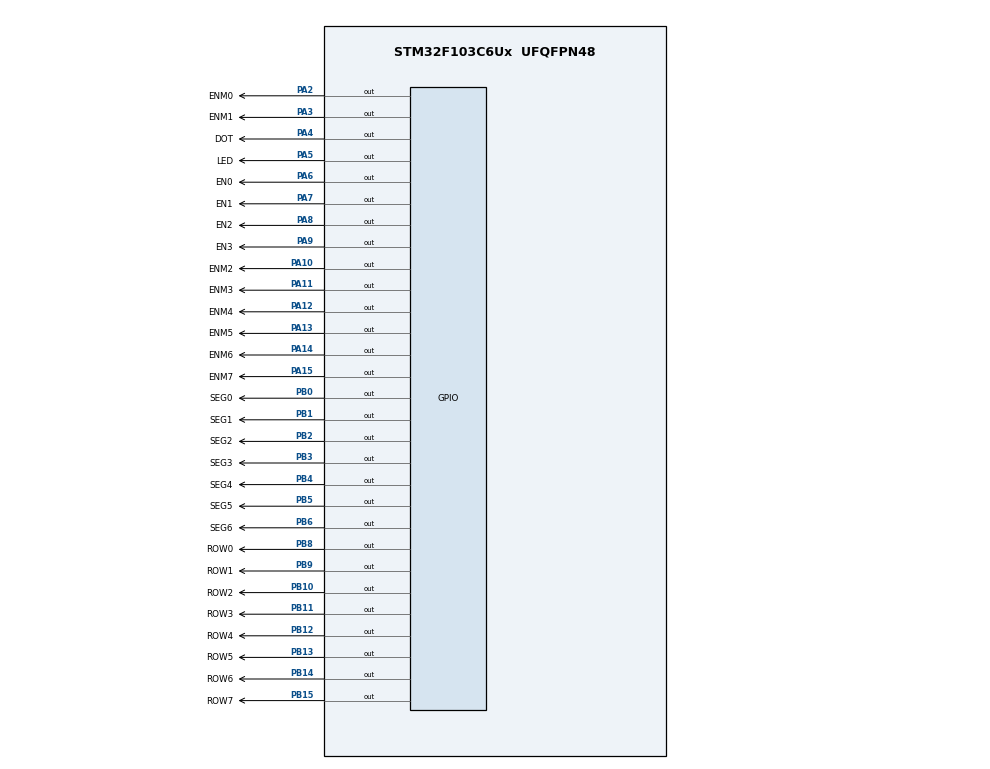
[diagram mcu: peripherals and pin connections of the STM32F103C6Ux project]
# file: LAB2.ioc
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Mcu.Family=STM32F1
Mcu.Name=STM32F103C6Ux
Mcu.Package=UFQFPN48
NVIC.PriorityGroup=NVIC_PRIORITYGROUP_4
NVIC.TIM2_IRQn=true\:0\:0\:false\:false\:true\:true\:true
PA10.GPIO_Label=ENM2
PA10.Signal=GPIO_Output
PA11.GPIO_Label=ENM3
PA11.Signal=GPIO_Output
PA12.GPIO_Label=ENM4
PA12.Signal=GPIO_Output
PA13.GPIO_Label=ENM5
PA13.Signal=GPIO_Output
PA14.GPIO_Label=ENM6
PA14.Signal=GPIO_Output
PA15.GPIO_Label=ENM7
PA15.Signal=GPIO_Output
PA2.GPIO_Label=ENM0
PA2.Signal=GPIO_Output
PA3.GPIO_Label=ENM1
PA3.Signal=GPIO_Output
PA4.GPIO_Label=DOT
PA4.Signal=GPIO_Output
PA5.GPIO_Label=LED
PA5.Signal=GPIO_Output
PA6.GPIO_Label=EN0
PA6.Signal=GPIO_Output
PA7.GPIO_Label=EN1
PA7.Signal=GPIO_Output
PA8.GPIO_Label=EN2
PA8.Signal=GPIO_Output
PA9.GPIO_Label=EN3
PA9.Signal=GPIO_Output
PB0.GPIO_Label=SEG0
PB0.Signal=GPIO_Output
PB1.GPIO_Label=SEG1
PB1.Signal=GPIO_Output
PB10.GPIO_Label=ROW2
PB10.Signal=GPIO_Output
PB11.GPIO_Label=ROW3
PB11.Signal=GPIO_Output
PB12.GPIO_Label=ROW4
PB12.Signal=GPIO_Output
PB13.GPIO_Label=ROW5
PB13.Signal=GPIO_Output
PB14.GPIO_Label=ROW6
PB14.Signal=GPIO_Output
PB15.GPIO_Label=ROW7
PB15.Signal=GPIO_Output
PB2.GPIO_Label=SEG2
PB2.Signal=GPIO_Output
PB3.GPIO_Label=SEG3
PB3.Signal=GPIO_Output
PB4.GPIO_Label=SEG4
PB4.Signal=GPIO_Output
PB5.GPIO_Label=SEG5
PB5.Signal=GPIO_Output
PB6.GPIO_Label=SEG6
PB6.Signal=GPIO_Output
PB8.GPIO_Label=ROW0
PB8.Signal=GPIO_Output
PB9.GPIO_Label=ROW1
PB9.Signal=GPIO_Output
ProjectManager.HeapSize=0x200
ProjectManager.StackSize=0x400
ProjectManager.TargetToolchain=STM32CubeIDE
RCC.APB1Freq_Value=8000000
RCC.APB2Freq_Value=8000000
TIM2.Period=10
TIM2.Prescaler=7999
VP_SYS_VS_ND.Mode=No_Debug
VP_TIM2_VS_ClockSourceINT.Mode=Internal
board=custom

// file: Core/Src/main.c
/* USER CODE BEGIN Header */
/**
  ******************************************************************************
  * @file           : main.c
  * @brief          : Main program body
  ******************************************************************************
  * @attention
  *
  * <h2><center>&copy; Copyright (c) 2022 STMicroelectronics.
  * All rights reserved.</center></h2>
  *
  * This software component is licensed by ST under BSD 3-Clause license,
  * the "License"; You may not use this file except in compliance with the
  * License. You may obtain a copy of the License at:
  *                        opensource.org/licenses/BSD-3-Clause
  *
  ******************************************************************************
  */
/* USER CODE END Header */
#include "main.h"

/* USER CODE BEGIN Includes */
#include "software_timer.h"
#include "global.h"
/* USER CODE END Includes */

TIM_HandleTypeDef htim2;

void SystemClock_Config(void);
static void MX_GPIO_Init(void);
static void MX_TIM2_Init(void);
/* USER CODE BEGIN PFP */
void display7SEG(int num);
void updateLEDMatrix(int index);
void updateClockBuffer();
void offMatrix();
/* USER CODE END PFP */

int main(void)
{

  /* MCU Configuration--------------------------------------------------------*/

  /* Reset of all peripherals, Initializes the Flash interface and the Systick. */
  HAL_Init();

  /* Configure the system clock */
  SystemClock_Config();

  /* Initialize all configured peripherals */
  MX_GPIO_Init();
  MX_TIM2_Init();
  /* USER CODE BEGIN 2 */
  HAL_TIM_Base_Start_IT(&htim2);
  /* USER CODE END 2 */

  /* Infinite loop */
  /* USER CODE BEGIN WHILE */
  setTimer1(10);

  while (1)
  {

	  if(timer_flag1==1){
		  timer_flag1=0;
		  	  if(index1==8)
		  		  index1=0;
		  	offMatrix();
			  updateLEDMatrix(index1);
			  index1++;

		  setTimer1(10);
	  }
    /* USER CODE END WHILE */

  }
}

void SystemClock_Config(void)
{
  RCC_OscInitTypeDef RCC_OscInitStruct = {0};
  RCC_ClkInitTypeDef RCC_ClkInitStruct = {0};

  /** Initializes the RCC Oscillators according to the specified parameters
  * in the RCC_OscInitTypeDef structure.
  */
  RCC_OscInitStruct.OscillatorType = RCC_OSCILLATORTYPE_HSI;
  RCC_OscInitStruct.HSIState = RCC_HSI_ON;
  RCC_OscInitStruct.HSICalibrationValue = RCC_HSICALIBRATION_DEFAULT;
  RCC_OscInitStruct.PLL.PLLState = RCC_PLL_NONE;
  if (HAL_RCC_OscConfig(&RCC_OscInitStruct) != HAL_OK)
  {
    Error_Handler();
  }
  /** Initializes the CPU, AHB and APB buses clocks
  */
  RCC_ClkInitStruct.ClockType = RCC_CLOCKTYPE_HCLK|RCC_CLOCKTYPE_SYSCLK
                              |RCC_CLOCKTYPE_PCLK1|RCC_CLOCKTYPE_PCLK2;
  RCC_ClkInitStruct.SYSCLKSource = RCC_SYSCLKSOURCE_HSI;
  RCC_ClkInitStruct.AHBCLKDivider = RCC_SYSCLK_DIV1;
  RCC_ClkInitStruct.APB1CLKDivider = RCC_HCLK_DIV1;
  RCC_ClkInitStruct.APB2CLKDivider = RCC_HCLK_DIV1;

  if (HAL_RCC_ClockConfig(&RCC_ClkInitStruct, FLASH_LATENCY_0) != HAL_OK)
  {
    Error_Handler();
  }
}

static void MX_TIM2_Init(void)
{

  TIM_ClockConfigTypeDef sClockSourceConfig = {0};
  TIM_MasterConfigTypeDef sMasterConfig = {0};

  htim2.Instance = TIM2;
  htim2.Init.Prescaler = 7999;
  htim2.Init.CounterMode = TIM_COUNTERMODE_UP;
  htim2.Init.Period = 10;
  htim2.Init.ClockDivision = TIM_CLOCKDIVISION_DIV1;
  htim2.Init.AutoReloadPreload = TIM_AUTORELOAD_PRELOAD_DISABLE;
  if (HAL_TIM_Base_Init(&htim2) != HAL_OK)
  {
    Error_Handler();
  }
  sClockSourceConfig.ClockSource = TIM_CLOCKSOURCE_INTERNAL;
  if (HAL_TIM_ConfigClockSource(&htim2, &sClockSourceConfig) != HAL_OK)
  {
    Error_Handler();
  }
  sMasterConfig.MasterOutputTrigger = TIM_TRGO_RESET;
  sMasterConfig.MasterSlaveMode = TIM_MASTERSLAVEMODE_DISABLE;
  if (HAL_TIMEx_MasterConfigSynchronization(&htim2, &sMasterConfig) != HAL_OK)
  {
    Error_Handler();
  }

}

static void MX_GPIO_Init(void)
{
  GPIO_InitTypeDef GPIO_InitStruct = {0};

  /* GPIO Ports Clock Enable */
  __HAL_RCC_GPIOA_CLK_ENABLE();
  __HAL_RCC_GPIOB_CLK_ENABLE();

  /*Configure GPIO pin Output Level */
  HAL_GPIO_WritePin(GPIOA, ENM0_Pin|ENM1_Pin|DOT_Pin|LED_Pin
                          |EN0_Pin|EN1_Pin|EN2_Pin|EN3_Pin
                          |ENM2_Pin|ENM3_Pin|ENM4_Pin|ENM5_Pin
                          |ENM6_Pin|ENM7_Pin, GPIO_PIN_RESET);

  /*Configure GPIO pin Output Level */
  HAL_GPIO_WritePin(GPIOB, SEG0_Pin|SEG1_Pin|SEG2_Pin|ROW2_Pin
                          |ROW3_Pin|ROW4_Pin|ROW5_Pin|ROW6_Pin
                          |ROW7_Pin|SEG3_Pin|SEG4_Pin|SEG5_Pin
                          |SEG6_Pin|ROW0_Pin|ROW1_Pin, GPIO_PIN_RESET);

  /*Configure GPIO pins : ENM0_Pin ENM1_Pin DOT_Pin LED_Pin
                           EN0_Pin EN1_Pin EN2_Pin EN3_Pin
                           ENM2_Pin ENM3_Pin ENM4_Pin ENM5_Pin
                           ENM6_Pin ENM7_Pin */
  GPIO_InitStruct.Pin = ENM0_Pin|ENM1_Pin|DOT_Pin|LED_Pin
                          |EN0_Pin|EN1_Pin|EN2_Pin|EN3_Pin
                          |ENM2_Pin|ENM3_Pin|ENM4_Pin|ENM5_Pin
                          |ENM6_Pin|ENM7_Pin;
  GPIO_InitStruct.Mode = GPIO_MODE_OUTPUT_PP;
  GPIO_InitStruct.Pull = GPIO_NOPULL;
  GPIO_InitStruct.Speed = GPIO_SPEED_FREQ_LOW;
  HAL_GPIO_Init(GPIOA, &GPIO_InitStruct);

  /*Configure GPIO pins : SEG0_Pin SEG1_Pin SEG2_Pin ROW2_Pin
                           ROW3_Pin ROW4_Pin ROW5_Pin ROW6_Pin
                           ROW7_Pin SEG3_Pin SEG4_Pin SEG5_Pin
                           SEG6_Pin ROW0_Pin ROW1_Pin */
  GPIO_InitStruct.Pin = SEG0_Pin|SEG1_Pin|SEG2_Pin|ROW2_Pin
                          |ROW3_Pin|ROW4_Pin|ROW5_Pin|ROW6_Pin
                          |ROW7_Pin|SEG3_Pin|SEG4_Pin|SEG5_Pin
                          |SEG6_Pin|ROW0_Pin|ROW1_Pin;
  GPIO_InitStruct.Mode = GPIO_MODE_OUTPUT_PP;
  GPIO_InitStruct.Pull = GPIO_NOPULL;
  GPIO_InitStruct.Speed = GPIO_SPEED_FREQ_LOW;
  HAL_GPIO_Init(GPIOB, &GPIO_InitStruct);

}

/* USER CODE BEGIN 4 */
void offMatrix(){
	HAL_GPIO_WritePin(GPIOA, ENM0_Pin|ENM1_Pin|ENM2_Pin|ENM3_Pin
			|ENM4_Pin|ENM5_Pin|ENM6_Pin|ENM7_Pin, SET);
	HAL_GPIO_WritePin(GPIOB, ROW0_Pin|ROW1_Pin|ROW2_Pin|ROW3_Pin
			|ROW4_Pin|ROW5_Pin|ROW6_Pin|ROW7_Pin, SET);
}
void HAL_TIM_PeriodElapsedCallback(TIM_HandleTypeDef *htim){
	timerRun();
}
const int MAX_LED_MATRIX = 8;
int index_led_matrix = 0;
uint8_t matrix_buffer[8] = {0x01, 0x02, 0x03, 0x04, 0x05, 0x06, 0x07, 0x08};

void updateLEDMatrix(int index){
    switch (index){
        case 0:
        	HAL_GPIO_WritePin(GPIOA, ENM3_Pin, RESET);
        	HAL_GPIO_WritePin(GPIOB, ROW0_Pin,RESET);

        	break;
        case 1:
        	HAL_GPIO_WritePin(GPIOA, ENM2_Pin|ENM4_Pin, RESET);
        	HAL_GPIO_WritePin(GPIOB, ROW1_Pin,RESET);

            break;
        case 2:
        	HAL_GPIO_WritePin(GPIOA, ENM1_Pin|ENM5_Pin, RESET);
        	HAL_GPIO_WritePin(GPIOB, ROW2_Pin,RESET);
            break;
        case 3:
        	HAL_GPIO_WritePin(GPIOA, ENM1_Pin|ENM2_Pin|ENM3_Pin|ENM4_Pin|ENM5_Pin, RESET);
        	HAL_GPIO_WritePin(GPIOB, ROW3_Pin,RESET);
        	break;
        case 4:
        	HAL_GPIO_WritePin(GPIOA, ENM1_Pin|ENM5_Pin, RESET);
        	HAL_GPIO_WritePin(GPIOB, ROW4_Pin,RESET);
        	break;
        case 5:
        	HAL_GPIO_WritePin(GPIOA, ENM1_Pin|ENM5_Pin, RESET);
        	HAL_GPIO_WritePin(GPIOB, ROW5_Pin,RESET);
        	break;
        case 6:
        	HAL_GPIO_WritePin(GPIOA, ENM1_Pin|ENM5_Pin, RESET);
        	HAL_GPIO_WritePin(GPIOB, ROW6_Pin,RESET);
        	break;
        case 7:
        	break;
        default:
            break;
    }
}
void display7SEG(int num)
{
	HAL_GPIO_WritePin(SEG0_GPIO_Port, SEG0_Pin, RESET);
	HAL_GPIO_WritePin(SEG1_GPIO_Port, SEG1_Pin, RESET);
	HAL_GPIO_WritePin(SEG2_GPIO_Port, SEG2_Pin, RESET);
	HAL_GPIO_WritePin(SEG3_GPIO_Port, SEG3_Pin, RESET);
	HAL_GPIO_WritePin(SEG4_GPIO_Port, SEG4_Pin, RESET);
	HAL_GPIO_WritePin(SEG5_GPIO_Port, SEG5_Pin, RESET);
	HAL_GPIO_WritePin(SEG6_GPIO_Port, SEG6_Pin, RESET);
	if(num==0)
	{
		HAL_GPIO_WritePin(SEG6_GPIO_Port, SEG6_Pin, SET);
	}
	if(num==1)
		{
			HAL_GPIO_WritePin(SEG0_GPIO_Port, SEG0_Pin, SET);
			HAL_GPIO_WritePin(SEG3_GPIO_Port, SEG3_Pin, SET);
			HAL_GPIO_WritePin(SEG4_GPIO_Port, SEG4_Pin, SET);
			HAL_GPIO_WritePin(SEG5_GPIO_Port, SEG5_Pin, SET);
			HAL_GPIO_WritePin(SEG6_GPIO_Port, SEG6_Pin, SET);
		}
	if(num==2)
		{
			HAL_GPIO_WritePin(SEG2_GPIO_Port, SEG2_Pin, SET);
			HAL_GPIO_WritePin(SEG5_GPIO_Port, SEG5_Pin, SET);
		}
	if(num==3)
		{
			HAL_GPIO_WritePin(SEG4_GPIO_Port, SEG4_Pin, SET);
			HAL_GPIO_WritePin(SEG5_GPIO_Port, SEG5_Pin, SET);
		}
	if(num==4)
		{
			HAL_GPIO_WritePin(SEG0_GPIO_Port, SEG0_Pin, SET);
			HAL_GPIO_WritePin(SEG3_GPIO_Port, SEG3_Pin, SET);
			HAL_GPIO_WritePin(SEG4_GPIO_Port, SEG4_Pin, SET);
		}
	if(num==5)
		{
			HAL_GPIO_WritePin(SEG4_GPIO_Port, SEG1_Pin, SET);
			HAL_GPIO_WritePin(SEG1_GPIO_Port, SEG4_Pin, SET);
		}
	if(num==6)
		{
			HAL_GPIO_WritePin(SEG1_GPIO_Port, SEG1_Pin, SET);
		}
	if(num==7)
		{
			HAL_GPIO_WritePin(SEG3_GPIO_Port, SEG3_Pin, SET);
			HAL_GPIO_WritePin(SEG4_GPIO_Port, SEG4_Pin, SET);
			HAL_GPIO_WritePin(SEG5_GPIO_Port, SEG5_Pin, SET);
			HAL_GPIO_WritePin(SEG6_GPIO_Port, SEG6_Pin, SET);
		}
	if(num==9)
		{
			HAL_GPIO_WritePin(SEG4_GPIO_Port, SEG4_Pin, SET);
		}
}

/* USER CODE END 4 */

void Error_Handler(void)
{
  __disable_irq();
  while (1)
  {
  }
}

/************************ (C) COPYRIGHT STMicroelectronics *****END OF FILE****/
